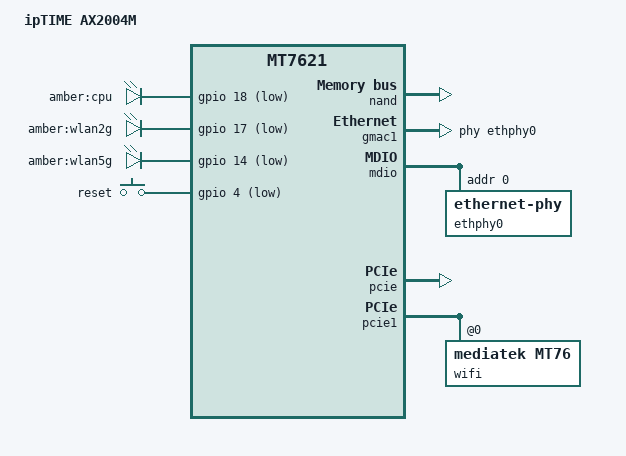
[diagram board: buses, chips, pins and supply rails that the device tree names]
// SPDX-License-Identifier: GPL-2.0-or-later OR MIT

#include "mt7621.dtsi"

#include <dt-bindings/gpio/gpio.h>
#include <dt-bindings/input/input.h>

/ {
	compatible = "iptime,ax2004m", "mediatek,mt7621-soc";
	model = "ipTIME AX2004M";

	aliases {
		led-boot = &led_cpu;
		led-failsafe = &led_cpu;
		led-running = &led_cpu;
		led-upgrade = &led_cpu;
	};

	chosen {
		bootargs = "console=ttyS0,115200";
	};

	leds {
		compatible = "gpio-leds";

		led_cpu: cpu {
			label = "amber:cpu";
			gpios = <&gpio 18 GPIO_ACTIVE_LOW>;
		};

		wlan2g {
			label = "amber:wlan2g";
			gpios = <&gpio 17 GPIO_ACTIVE_LOW>;
			linux,default-trigger = "phy0radio";
		};

		wlan5g {
			label = "amber:wlan5g";
			gpios = <&gpio 14 GPIO_ACTIVE_LOW>;
			linux,default-trigger = "phy1radio";
		};
	};

	keys {
		compatible = "gpio-keys";

		reset {
			label = "reset";
			gpios = <&gpio 4 GPIO_ACTIVE_LOW>;
			linux,code = <KEY_RESTART>;
		};
	};
};

&nand {
	status = "okay";

	partitions {
		compatible = "fixed-partitions";
		#address-cells = <1>;
		#size-cells = <1>;

		partition@0 {
			label = "u-boot";
			reg = <0x0 0x80000>;
			read-only;
		};

		partition@80000 {
			label = "config";
			reg = <0x80000 0x80000>;
			read-only;
		};

		factory: partition@100000 {
			label = "factory";
			reg = <0x100000 0x80000>;
			read-only;

			compatible = "nvmem-cells";
			#address-cells = <1>;
			#size-cells = <1>;

			macaddr_factory_4: macaddr@4 {
				reg = <0x4 0x6>;
			};
		};

		partition@180000 {
			label = "firmware";
			reg = <0x180000 0x7680000>;

			compatible = "fixed-partitions";
			#address-cells = <1>;
			#size-cells = <1>;

			partition@0 {
				label = "kernel";
				reg = <0x0 0x400000>;
			};

			partition@400000 {
				label = "ubi";
				reg = <0x400000 0x7280000>;
			};
		};
	};
};

&state_default {
	gpio {
		groups = "i2c", "jtag", "wdt";
		function = "gpio";
	};
};

&gmac0 {
	nvmem-cells = <&macaddr_factory_4>;
	nvmem-cell-names = "mac-address";
	mac-address-increment = <3>;
};

&gmac1 {
	status = "okay";
	label = "wan";
	phy-handle = <&ethphy0>;

	nvmem-cells = <&macaddr_factory_4>;
	nvmem-cell-names = "mac-address";
	mac-address-increment = <1>;
};

&mdio {
	ethphy0: ethernet-phy@0 {
		reg = <0>;
	};
};

&switch0 {
	ports {
		port@1 {
			status = "okay";
			label = "lan4";
		};

		port@2 {
			status = "okay";
			label = "lan3";
		};

		port@3 {
			status = "okay";
			label = "lan2";
		};

		port@4 {
			status = "okay";
			label = "lan1";
		};
	};
};

&pcie {
	status = "okay";
};

&pcie1 {
	wifi@0,0 {
		compatible = "mediatek,mt76";
		reg = <0x0000 0 0 0 0>;
		mediatek,mtd-eeprom = <&factory 0x0>;
	};
};
